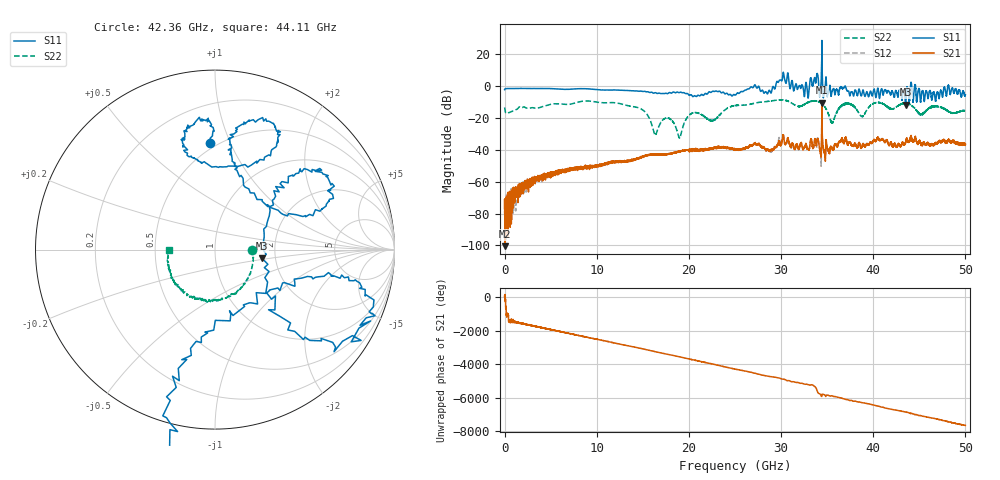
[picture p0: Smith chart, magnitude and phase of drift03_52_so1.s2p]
!Created with skrf (http://scikit-rf.org).
# Hz S RI R 50.0
!freq ReS11 ImS11 ReS21 ImS21 ReS12 ImS12 ReS22 ImS22
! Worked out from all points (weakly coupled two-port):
!   10000 points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, 5.3 MHz to 50 GHz, reference 50 ohm
!   highest |S21| = -10.36 dB at 34.43 GHz (marker M1); lowest = -100.5 dB at 50.3 MHz (marker M2)
!   lowest |S11| = -11.5 dB at 43.53 GHz (marker M3), VSWR 1.73, Z = 85 - j8.96 ohm
!   |S11| at or under -10 dB: 43.4892 GHz to 43.54375 GHz (54.55 MHz wide, 0.125 % of centre); 45.13927 GHz to 45.14087 GHz (1.597 MHz wide, 0.00354 % of centre)
!   |S22| runs from -32.6 to -8.4 dB; largest |S21 - S12| = 0.092
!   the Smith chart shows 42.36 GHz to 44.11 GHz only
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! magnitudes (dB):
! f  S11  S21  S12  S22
! 5.3 MHz  -2.1  -76.9  -78.2  -13.3
! 50.3 MHz  -1.6  -100.5  -72.0  -14.9
! 2.995 GHz  -1.4  -60.7  -60.3  -13.4
! 8.34 GHz  -1.5  -51.3  -50.7  -9.5
! 14.57 GHz  -3.1  -44.8  -45.0  -13.6
! 16.67 GHz  -4.4  -42.7  -43.0  -26.2
! 17.79 GHz  -4.3  -42.6  -42.5  -20.0
! 18.99 GHz  -3.9  -41.1  -41.1  -32.4
! 20.3 GHz  -5.6  -40.1  -39.7  -17.1
! 22.57 GHz  -3.1  -39.1  -38.9  -21.7
! 25.01 GHz  -5.5  -39.8  -39.7  -12.2
! 28.72 GHz  -2.5  -40.4  -40.6  -9.3
! 30.14 GHz  4.4  -33.9  -33.9  -8.5
! 32.74 GHz  2.0  -36.8  -36.4  -10.8
! 33.34 GHz  2.6  -34.9  -35.2  -9.4
! 34.43 GHz  28.8  -10.4  -12.4  -10.9
! 35.54 GHz  -3.1  -39.0  -39.0  -22.9
! 36.95 GHz  0.1  -33.0  -33.2  -11.2
! 38.78 GHz  -4.9  -38.0  -37.9  -19.1
! 41.67 GHz  -2.9  -36.7  -37.0  -13.1
! 43.53 GHz  -11.5  -35.0  -34.9  -10.6
! 50 GHz  -5.3  -36.2  -36.1  -15.5
